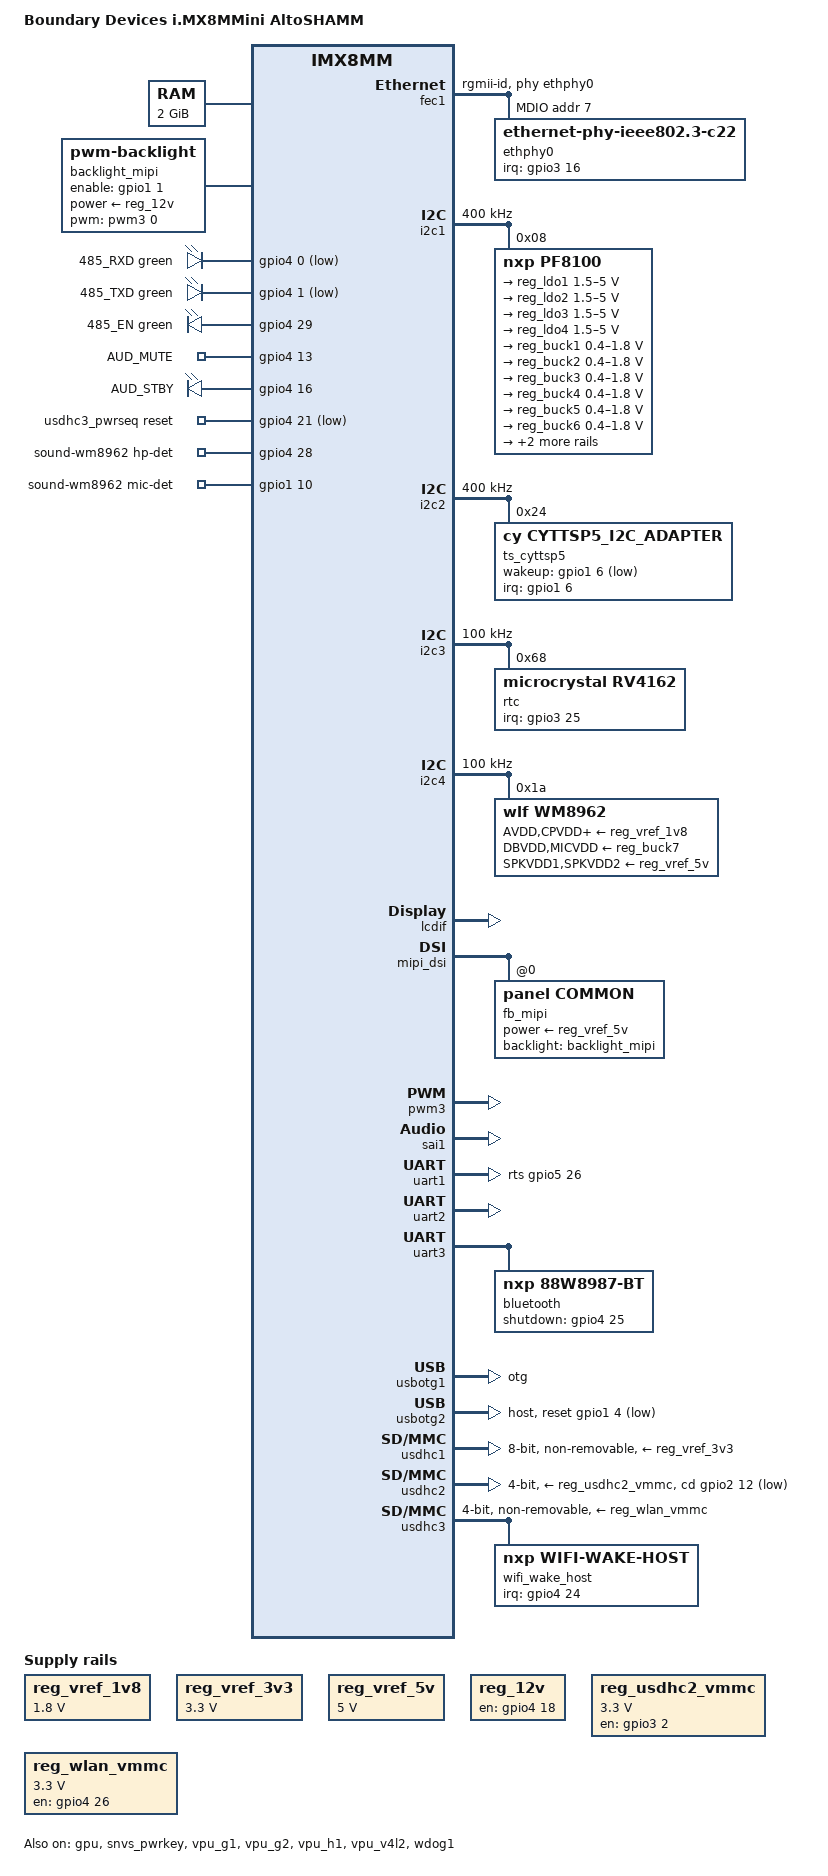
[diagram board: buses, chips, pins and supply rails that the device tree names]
// SPDX-License-Identifier: (GPL-2.0+ OR MIT)
/*
 * Copyright 2024 Ezurio
 */

/dts-v1/;

#include <dt-bindings/leds/common.h>
#include <dt-bindings/phy/phy-imx8-pcie.h>
#include <dt-bindings/usb/pd.h>
#include "imx8mm.dtsi"

#include "../panel-m101nwwb.dtsi"

/ {
	model = "Boundary Devices i.MX8MMini AltoSHAMM";
	compatible = "ezurio,imx8mm-ash", "fsl,imx8mm";

	aliases {
		a53 = &A53_0;
		backlight_mipi = &backlight_mipi;
		fb_mipi = &fb_mipi;
		lcdif = &lcdif;
		mipi = &fb_mipi;
		mipi_dsi = &mipi_dsi;
		mipi_to_lvds = &mipi_to_lvds;
		pwm_mipi = &pwm3;
		t_mipi = &t_mipi;
		ts_cyttsp5 = &ts_cyttsp5;
	};

	chosen {
		stdout-path = &uart2;
	};

	memory@40000000 {
		device_type = "memory";
		reg = <0x0 0x40000000 0 0x80000000>;
	};

	backlight_mipi: backlight-mipi {
		compatible = "pwm-backlight";
		pinctrl-names = "default";
		pinctrl-0 = <&pinctrl_backlight>;
		power-supply = <&reg_12v>;
		pwms = <&pwm3 0 30000 0>; /* 33.3 Khz */
		enable-gpios = <&gpio1 1 GPIO_ACTIVE_HIGH>;
		brightness-levels = <0 10>;
		display = <&display_subsystem>;
		num-interpolated-steps = <10>;
		default-brightness-level = <8>;
		status = "okay"; /* TODO */
	};

	led-controller {
		compatible = "gpio-leds";
		pinctrl-names = "default";
		pinctrl-0 = <&pinctrl_rs485_leds>;

		485-rxd {
			label = "485_RXD";
			function = LED_FUNCTION_STATUS;
			color = <LED_COLOR_ID_GREEN>;
			gpios = <&gpio4 0 GPIO_ACTIVE_LOW>;
			default-state = "off";
			//linux,default-trigger = "";
		};

		485-txd {
			label = "485_TXD";
			function = LED_FUNCTION_STATUS;
			color = <LED_COLOR_ID_GREEN>;
			gpios = <&gpio4 1 GPIO_ACTIVE_LOW>;
			default-state = "off";
			//linux,default-trigger = "";
		};

		/* Temporary placeholder for HW test */
		485-en {
			label = "485_EN";
			function = LED_FUNCTION_STATUS;
			color = <LED_COLOR_ID_GREEN>;
			gpios = <&gpio4 29 GPIO_ACTIVE_HIGH>;
			default-state = "off";
			//linux,default-trigger = "";
		};

		/* Temporary to enable audio amplifer */
		aud-mute {
			label = "AUD_MUTE";
			gpios = <&gpio4 13 GPIO_ACTIVE_HIGH>;
			default-state = "on";
		};

		aud-stby {
			label = "AUD_STBY";
			gpios = <&gpio4 16 GPIO_ACTIVE_HIGH>;
			default-state = "on";
		};
	};

	reg_vref_1v8: regulator-vref-1v8 {
		compatible = "regulator-fixed";
		regulator-name = "vref-1v8";
		regulator-min-microvolt = <1800000>;
		regulator-max-microvolt = <1800000>;
	};

	reg_vref_3v3: regulator-vref-3v3 {
		compatible = "regulator-fixed";
		regulator-name = "vref-3v3";
		regulator-min-microvolt = <3300000>;
		regulator-max-microvolt = <3300000>;
	};

	reg_vref_5v: regulator-vref-5v {
		compatible = "regulator-fixed";
		regulator-name = "vref-5v";
		regulator-min-microvolt = <5000000>;
		regulator-max-microvolt = <5000000>;
	};

	reg_12v: regulator-12v {
		compatible = "regulator-fixed";
		regulator-name = "vcc_12v";
		pinctrl-names = "default";
		pinctrl-0 = <&pinctrl_reg_12v>;
		gpio = <&gpio4 18 GPIO_ACTIVE_HIGH>; /* BKLITON / VCC_12V */
		enable-active-high;
	};

	reg_usdhc2_vmmc: regulator-usdhc2 {
		compatible = "regulator-fixed";
		pinctrl-names = "default";
		pinctrl-0 = <&pinctrl_reg_usdhc2_vmmc>;
		regulator-name = "VSD_3V3";
		regulator-min-microvolt = <3300000>;
		regulator-max-microvolt = <3300000>;
		gpio = <&gpio3 2 GPIO_ACTIVE_HIGH>; /*  LDO2_VSEL */
		off-on-delay-us = <20000>;
		enable-active-high;
	};

	reg_wlan_vmmc: regulator-wlan-vmmc {
		compatible = "regulator-fixed";
		pinctrl-names = "default";
		pinctrl-0 = <&pinctrl_reg_wlan_vmmc>;
		regulator-name = "reg_wlan_vmmc";
		regulator-min-microvolt = <3300000>;
		regulator-max-microvolt = <3300000>;
		gpio = <&gpio4 26 GPIO_ACTIVE_HIGH>; /* WL_EN */
		startup-delay-us = <70000>;
		enable-active-high;
	};

	usdhc3_pwrseq: usdhc3_pwrseq {
		compatible = "mmc-pwrseq-simple";
		pinctrl-names = "default";
		pinctrl-0 = <&pinctrl_usdhc3_gpio>;
		reset-gpios = <&gpio4 21 GPIO_ACTIVE_LOW>; /* WIFI_RESET */
	};

	sound-wm8962 {
		compatible = "fsl,imx-audio-wm8962";
		pinctrl-names = "default";
		pinctrl-0 = <&pinctrl_sound_wm8962>;
		model = "wm8962-audio";
		audio-cpu = <&sai1>;
		audio-codec = <&wm8962>;
		audio-routing =
			"Headphone Jack", "HPOUTL",
			"Headphone Jack", "HPOUTR",
			"Ext Spk", "SPKOUTL",
			"Ext Spk", "SPKOUTR",
			"AMIC", "MICBIAS",
			"IN1R", "AMIC",
			"IN2R", "AMIC",
			"IN3L", "AMIC",
			"IN3R", "AMIC";
		codec-master;
		hp-det-gpio = <&gpio4 28 GPIO_ACTIVE_HIGH>;
		mic-det-gpio = <&gpio1 10 GPIO_ACTIVE_HIGH>;
		status = "okay";
	};
};

&A53_0 {
	cpu-supply = <&reg_buck3>;
};

&A53_1 {
	cpu-supply = <&reg_buck3>;
};

&A53_2 {
	cpu-supply = <&reg_buck3>;
};

&A53_3 {
	cpu-supply = <&reg_buck3>;
};

&fec1 {
	pinctrl-names = "default";
	pinctrl-0 = <&pinctrl_fec1>;
	phy-mode = "rgmii-id";
	phy-handle = <&ethphy0>;
	fsl,magic-packet;
#if 0
	reset-gpios = <&gpio3 15 GPIO_ACTIVE_LOW>;
#endif
	phy-reset-post-delay = <150>;
	phy-reset-duration = <10>;
	status = "okay";

	mdio {
		#address-cells = <1>;
		#size-cells = <0>;

		ethphy0: ethernet-phy@7 {
			compatible = "ethernet-phy-ieee802.3-c22";
			reg = <7>;
			interrupts-extended = <&gpio3 16 IRQ_TYPE_LEVEL_LOW>;
			rxc-skew-ps = <1860>;
			txc-skew-ps = <1860>;
		};
	};
};

&gpio1 {
	gpio-line-names = "0", "BL_EN", "2", "3", "USB_HUB_RESET", "5", "6", "7", "8",
		"9", "MIC_DET", "11", "12", "13", "14", "15", "16",
		"17", "18", "19", "20", "21", "22", "23", "24",
		"25", "26", "27", "28", "29", "30", "31";
};

&gpio2 {
	gpio-line-names = "0", "1", "2", "3", "4", "5", "6", "7", "8",
		"9", "10", "11", "SD2_CD", "13", "14", "15", "16",
		"17", "18", "19", "20", "21", "22", "23", "24",
		"25", "26", "27", "28", "29", "30", "31";
};

&gpio3 {
	gpio-line-names = "0", "1", "LDO2_VSEL", "3", "4", "5", "6", "7", "8",
			"9", "10", "11", "12", "13", "14", "FEC_RST", "FEC_INT",
			"17", "18", "19", "20", "UD_SW1", "UD_SW2", "UD_SW3", "UD_SW4",
			"RTC_INT", "26", "27", "28", "29", "30", "31";
};

&gpio4 {
	gpio-line-names = "485_RXD", "485_TXD", "2", "3", "4", "5", "6", "7", "8",
		"9", "10", "11", "12", "AMP_MUTE", "AMP_G1", "AMP_G0", "AMP_STDBY",
		"17", "BKLITON", "19", "20", "WIFI_RESET", "22", "23", "WL_IRQ",
		"BT_EN", "WL_EN", "27", "HP_DET_tp13", "485_EN", "30", "UD_SW6";
};

&gpio5 {
	gpio-line-names = "UD_SW7", "UD_SW8", "UD_SW5", "3", "4", "5", "6", "7", "8",
			"9", "10", "11", "12", "13", "14", "15", "16",
			"17", "18", "19", "20", "21", "22", "23", "24",
			"25", "RS485_RTS", "27", "28", "29", "30", "31";
};

&gpu {
	status = "okay";
};

&i2c1 { /* PMIC and SN65 */
	clock-frequency = <400000>;
	pinctrl-names = "default";
	pinctrl-0 = <&pinctrl_i2c1>;
	status = "okay";

	pf8100@8 {
		compatible = "nxp,pf8100";
		pinctrl-names = "default";
		pinctrl-0 = <&pinctrl_i2c1_pf8100>;
		reg = <0x08>;

		regulators {
			reg_ldo1: ldo1 { /* LDO1_3P3V */
				regulator-always-on;
				regulator-boot-on;
				regulator-max-microvolt = <5000000>;
				regulator-min-microvolt = <1500000>;
			};

			reg_ldo2: ldo2 { /* NVCC_SD2 */
				regulator-always-on;
				regulator-boot-on;
				regulator-max-microvolt = <5000000>;
				regulator-min-microvolt = <1500000>;
				/* vselect low is 3.3V, high is 1.8V */
				vselect-en;
			};

			reg_ldo3: ldo3 { /* LDO3_1P8V_TO_3P3V */
				regulator-always-on;
				regulator-boot-on;
				regulator-max-microvolt = <5000000>;
				regulator-min-microvolt = <1500000>;
			};

			reg_ldo4: ldo4 { /* VDDA_1V8 */
				regulator-always-on;
				regulator-boot-on;
				regulator-max-microvolt = <5000000>;
				regulator-min-microvolt = <1500000>;
			};

			reg_buck1: buck1 { /* VDD_SOC_VDDA_0P8_PHY_0P8 */
				nxp,phase-shift = <0>;
				regulator-max-microamp = <4500000>;
				regulator-always-on;
				regulator-boot-on;
				regulator-max-microvolt = <1800000>;
				regulator-min-microvolt =  <400000>;
			};

			reg_buck2: buck2 { /* VDD_DRAM */
				regulator-always-on;
				regulator-boot-on;
				regulator-max-microvolt = <1800000>;
				regulator-min-microvolt =  <400000>;
			};

			reg_buck3: buck3 { /* VDD_ARM */
				regulator-always-on;
				regulator-boot-on;
				regulator-max-microvolt = <1800000>;
				regulator-min-microvolt =  <400000>;
				fast-slew = <1>;
			};

			reg_buck4: buck4{ /* VDD_GPU */
				regulator-always-on;
				regulator-boot-on;
				regulator-max-microvolt = <1800000>;
				regulator-min-microvolt =  <400000>;
				fast-slew = <1>;
			};

			reg_buck5: buck5 { /* VDD_VPU */
				regulator-boot-on;
				regulator-max-microvolt = <1800000>;
				regulator-min-microvolt =  <400000>;
			};

			reg_buck6: buck6 { /* NVCC_DRAM_1P1V */
				regulator-always-on;
				regulator-boot-on;
				regulator-max-microvolt = <1800000>;
				regulator-min-microvolt =  <400000>;
			};

			reg_buck7: buck7 { /* 3P3V */
				regulator-always-on;
				regulator-boot-on;
				regulator-max-microvolt = <4100000>;
				regulator-min-microvolt = <1000000>;
			};

			reg_vsnvs: vsnvs {
				regulator-always-on;
				regulator-boot-on;
				regulator-max-microvolt = <3300000>;
				regulator-min-microvolt = <1800000>;
			};
		};
	}; /* End pf8100 */
};

&i2c2 { /* Touch */
	clock-frequency = <400000>;
	pinctrl-names = "default";
	pinctrl-0 = <&pinctrl_i2c2>;
	status = "okay";

	ts_cyttsp5: touchscreen@24 {
		compatible = "cy,cyttsp5_i2c_adapter";
		cy,adapter_id = "cyttsp5_i2c_adapter";
		touchscreen-inverted-x;
		touchscreen-inverted-y;
		interrupts-extended = <&gpio1 6 IRQ_TYPE_EDGE_FALLING>;
		pinctrl-names = "default";
		pinctrl-0 = <&pinctrl_ts_cyttsp5>;
		reg = <0x24>;
		status = "okay";
		wakeup-gpios = <&gpio1 6 GPIO_ACTIVE_LOW>;

		cy,core {
			cy,name = "cyttsp5_core";
			cy,hid_desc_register = <1>;
			/* CY_CORE_FLAG_RESTORE_PARAMETERS */
			cy,flags = <4>;
			/* CY_CORE_EWG_NONE */
			cy,easy_wakeup_gesture = <0>;
			cy,btn_keys = <172 /* KEY_HOMEPAGE */
				/* previously was KEY_HOME, new Android versions use KEY_HOMEPAGE */
				139 /* KEY_MENU */
				158 /* KEY_BACK */
				217 /* KEY_SEARCH */
				114 /* KEY_VOLUMEDOWN */
				115 /* KEY_VOLUMEUP */
				212 /* KEY_CAMERA */
				116>; /* KEY_POWER */
			cy,btn_keys-tag = <0>;

			cy,mt {
				cy,name = "cyttsp5_mt";

				cy,inp_dev_name = "cyttsp5_mt";
				cy,flags = <0x30>; /* CY_MT_FLAG_INV_X | CY_MT_FLAG_INV_Y */
				cy,abs =
					/* ABS_MT_POSITION_X, CY_ABS_MIN_X, CY_ABS_MAX_X, 0, 0 */
					<0x35 0 880 0 0
					/* ABS_MT_POSITION_Y, CY_ABS_MIN_Y, CY_ABS_MAX_Y, 0, 0 */
					0x36 0 1280 0 0
					/* ABS_MT_PRESSURE, CY_ABS_MIN_P, CY_ABS_MAX_P, 0, 0 */
					0x3a 0 255 0 0
					/* CY_IGNORE_VALUE, CY_ABS_MIN_W, CY_ABS_MAX_W, 0, 0 */
					0xffff 0 255 0 0
					/* ABS_MT_TRACKING_ID, CY_ABS_MIN_T, CY_ABS_MAX_T, 0, 0 */
					0x39 0 15 0 0
					/* ABS_MT_TOUCH_MAJOR, 0, 255, 0, 0 */
					0x30 0 255 0 0
					/* ABS_MT_TOUCH_MINOR, 0, 255, 0, 0 */
					0x31 0 255 0 0
					/* ABS_MT_ORIENTATION, -127, 127, 0, 0 */
					0x34 0xffffff81 127 0 0
					/* ABS_MT_TOOL_TYPE, 0, MT_TOOL_MAX, 0, 0 */
					0x37 0 1 0 0
					/* ABS_DISTANCE, 0, 255, 0, 0 */
					0x19 0 255 0 0>;

				cy,vkeys_x = <720>;
				cy,vkeys_y = <1280>;

				cy,virtual_keys = /* KeyCode CenterX CenterY Width Height */
					/* KEY_BACK */
					<158 1360 90 160 180
					/* KEY_MENU */
					139 1360 270 160 180
					/* KEY_HOMEPAGE */
					172 1360 450 160 180
					/* KEY SEARCH */
					217 1360 630 160 180>;
			};

			cy,btn {
				cy,name = "cyttsp5_btn";

				cy,inp_dev_name = "cyttsp5_btn";
			};

			cy,proximity {
				cy,name = "cyttsp5_proximity";

				cy,inp_dev_name = "cyttsp5_proximity";
				cy,abs =
					/* ABS_DISTANCE, CY_PROXIMITY_MIN_VAL, CY_PROXIMITY_MAX_VAL, 0, 0 */
					<0x19 0 1 0 0>;
			};
		};
	};
};

&i2c3 { /* RTC */
	clock-frequency = <100000>;
	pinctrl-names = "default";
	pinctrl-0 = <&pinctrl_i2c3>;
	status = "okay";

	rtc@68 {
		compatible = "microcrystal,rv4162";
		pinctrl-names = "default";
		pinctrl-0 = <&pinctrl_i2c3_rv4162>;
		reg = <0x68>;
		interrupts-extended = <&gpio3 25 IRQ_TYPE_LEVEL_LOW>;
		wakeup-source;
	};
};

&i2c4 { /* Audio */
	clock-frequency = <100000>;
	pinctrl-names = "default";
	pinctrl-0 = <&pinctrl_i2c4>;
	status = "okay";

	wm8962: codec@1a {
		compatible = "wlf,wm8962";
		reg = <0x1a>;
		clocks = <&clk IMX8MM_CLK_SAI1_ROOT>;
		clock-names = "mclk";
		AVDD-supply = <&reg_vref_1v8>;
                CPVDD-supply = <&reg_vref_1v8>;
                DBVDD-supply = <&reg_buck7>;
                DCVDD-supply = <&reg_vref_1v8>;
                MICVDD-supply = <&reg_buck7>;
                PLLVDD-supply = <&reg_vref_1v8>;
                SPKVDD1-supply = <&reg_vref_5v>;
                SPKVDD2-supply = <&reg_vref_5v>;
		wlf,shared-lrclk;
	};
};

&lcdif {
	status = "okay";
};

&mipi_dsi {

	assigned-clocks = <&clk IMX8MM_CLK_DSI_CORE>,
			  <&clk IMX8MM_CLK_DSI_PHY_REF>,
			  <&clk IMX8MM_VIDEO_PLL1_REF_SEL>,
			  <&clk IMX8MM_CLK_LCDIF_PIXEL>;
	assigned-clock-parents = <&clk IMX8MM_SYS_PLL1_266M>,
				 <&clk IMX8MM_VIDEO_PLL1_OUT>,
				 <&clk IMX8MM_CLK_24M>;
	assigned-clock-rates = <266000000>, <0>, <0>, <66000000>;

	status = "okay"; /* TODO */

	fb_mipi: panel@0 {
		backlight = <&backlight_mipi>;
		bits-per-color = <8>;
		bridge-de-active = <0>;
		bus-format = "rgb888";
		clocks = <&mipi_dsi 0>,
			<&clk IMX8MM_CLK_LCDIF_PIXEL>;
		clock-names = "mipi_clk", "pixel_clock";
		compatible = "panel,common";
		dsi-format = "rgb888";
		dsi-lanes = <4>;
		mode-skip-eot;
		mode-video;
		mode-video-burst;
		panel-height-mm = <136>;
		panel-width-mm = <217>;
		pinctrl-names = "sn65dsi83";
		pinctrl-0 = <&pinctrl_sn65>;
		power-supply = <&reg_vref_5v>;
		reg = <0>;
		sn65dsi83 = <&mipi_to_lvds>;
		spwg;

		display-timings {
			t_mipi: t-dsi-default {
				/* m101nwwb by default */
				clock-frequency = <66000000>;
				hactive = <1280>;
				vactive = <800>;
				hback-porch = <5>;
				hfront-porch = <123>;
				vback-porch = <3>;
				vfront-porch = <24>;
				hsync-len = <1>;
				vsync-len = <1>;
				hsync-active = <0>;
				vsync-active = <0>;
				de-active = <1>;
			};
		};
		mipi_to_lvds: mipi-to-lvds {
			alias = <&mipi_to_lvds>;
			enable-gpios = <&gpio3 6 GPIO_ACTIVE_HIGH>;
			i2c-address = <0x2c>;
			i2c-bus = <&i2c1>;
			interrupts-extended = <&gpio3 8 IRQ_TYPE_LEVEL_HIGH>;
			status = "disabled";
	      };
	};
};

&pwm3 {
	pinctrl-names = "default";
	pinctrl-0 = <&pinctrl_pwm3>;
	status = "okay";
};

&sai1 {
	pinctrl-names = "default";
	pinctrl-0 = <&pinctrl_sai1>;
	fsl,sai-mclk-direction-output;
	status = "okay";
};

&snvs_pwrkey {
	status = "okay";
};

&uart1 { /* RS485 */
	pinctrl-names = "default";
	pinctrl-0 = <&pinctrl_uart1>;
	assigned-clocks = <&clk IMX8MM_CLK_UART1>;
	assigned-clock-parents = <&clk IMX8MM_SYS_PLL1_80M>;
	rts-gpios = <&gpio5 26 GPIO_ACTIVE_HIGH>;
        linux,rs485-enabled-at-boot-time;
	status = "okay";
};

&uart2 { /* console */
	pinctrl-names = "default";
	pinctrl-0 = <&pinctrl_uart2>;
	assigned-clocks = <&clk IMX8MM_CLK_UART2>;
	assigned-clock-parents = <&clk IMX8MM_CLK_24M>;
	status = "okay";
};

&uart3 { /* BT */
	pinctrl-names = "default";
	pinctrl-0 = <&pinctrl_uart3>;
	assigned-clocks = <&clk IMX8MM_CLK_UART3>;
	assigned-clock-parents = <&clk IMX8MM_SYS_PLL1_80M>;
	fsl,uart-has-rtscts;
	status = "okay";

	bluetooth {
		compatible = "nxp,88w8987-bt";
		fw-init-baudrate = <3000000>;
		shutdown-gpios = <&gpio4 25 GPIO_ACTIVE_HIGH>;
	};
};

&usbotg1 { /* Micro USB */
	dr_mode = "otg";
	over-current-active-low;
	pinctrl-names = "default";
	pinctrl-0 = <&pinctrl_usbotg1>;
	power-active-high;
	status = "okay";
};

&usbotg2 { /* HUB (2 X USB 2.0 ports) */
	disable-over-current;
	dr_mode = "host";
	pinctrl-names = "default";
	pinctrl-0 = <&pinctrl_usbotg2>;
	power-active-high;
	reset-gpios = <&gpio1 4 GPIO_ACTIVE_LOW>; /* USB_HUB_RESET */
	status = "okay";
};

&usdhc1 { /* eMMC */
	bus-width = <8>;
	no-mmc-hs400;
	non-removable;
	pinctrl-names = "default", "state_100mhz", "state_200mhz";
	pinctrl-0 = <&pinctrl_usdhc1>;
	pinctrl-1 = <&pinctrl_usdhc1_100mhz>;
	pinctrl-2 = <&pinctrl_usdhc1_200mhz>;
	status = "okay";
	vmmc-supply = <&reg_vref_3v3>;
	vqmmc-1-8-v;
	vqmmc-supply = <&reg_vref_1v8>;
};

&usdhc2 { /* SDCARD */
	pinctrl-names = "default", "state_100mhz", "state_200mhz";
	pinctrl-0 = <&pinctrl_usdhc2>, <&pinctrl_usdhc2_gpio>;
	pinctrl-1 = <&pinctrl_usdhc2_100mhz>, <&pinctrl_usdhc2_gpio>;
	pinctrl-2 = <&pinctrl_usdhc2_200mhz>, <&pinctrl_usdhc2_gpio>;
	cd-gpios = <&gpio2 12 GPIO_ACTIVE_LOW>;
	bus-width = <4>;
	vmmc-supply = <&reg_usdhc2_vmmc>;
	status = "okay";
};

&usdhc3 { /* WiFi / Bluetooth */
	bus-width = <4>;
	no-sd-uhs-sdr104;
	pm-ignore-notify;
	keep-power-in-suspend;
	non-removable;
	wakeup-source;
	mmc-pwrseq = <&usdhc3_pwrseq>; /* Controls WIFI_RESET */
	fsl,sdio-async-interrupt-enabled;
	pinctrl-names = "default", "state_100mhz", "state_200mhz";
	pinctrl-0 = <&pinctrl_usdhc3>, <&pinctrl_wlan>;
	pinctrl-1 = <&pinctrl_usdhc3_100mhz>, <&pinctrl_wlan>;
	pinctrl-2 = <&pinctrl_usdhc3_200mhz>, <&pinctrl_wlan>;
	status = "okay";
	vmmc-supply = <&reg_wlan_vmmc>; /* Controls WL_EN */
	vqmmc-1-8-v;

	wifi_wake_host {
                compatible = "nxp,wifi-wake-host";
                interrupt-parent = <&gpio4>;
                interrupts = <24 IRQ_TYPE_LEVEL_LOW>; /* WL_IRQ */
                interrupt-names = "host-wake";
        };

};

&vpu_g1 {
	status = "okay";
};

&vpu_g2 {
	status = "okay";
};

&vpu_h1 {
	status = "okay";
};

&vpu_v4l2 {
	status = "okay";
};

&pgc_vpumix {
        dvfs-supply = <&reg_buck5>;
        idle-microvolt = <850000 805000 900000>;
};

&wdog1 {
	pinctrl-names = "default";
	pinctrl-0 = <&pinctrl_wdog>;
	fsl,ext-reset-output;
	status = "okay";
};

&iomuxc {
	pinctrl-names = "default";
	pinctrl-0 = <&pinctrl_hog>;

	pinctrl_backlight: backlightgrp {
		fsl,pins = <
			MX8MM_IOMUXC_GPIO1_IO01_GPIO1_IO1		0x159
		>;
	};

	pinctrl_fec1: fec1grp {
		fsl,pins = <
			MX8MM_IOMUXC_ENET_MDC_ENET1_MDC			0x0
			MX8MM_IOMUXC_ENET_MDIO_ENET1_MDIO		0x0
			MX8MM_IOMUXC_ENET_TD3_ENET1_RGMII_TD3		0x1f
			MX8MM_IOMUXC_ENET_TD2_ENET1_RGMII_TD2		0x1f
			MX8MM_IOMUXC_ENET_TD1_ENET1_RGMII_TD1		0x1f
			MX8MM_IOMUXC_ENET_TD0_ENET1_RGMII_TD0		0x1f
			MX8MM_IOMUXC_ENET_RD3_ENET1_RGMII_RD3		0x91
			MX8MM_IOMUXC_ENET_RD2_ENET1_RGMII_RD2		0x91
			MX8MM_IOMUXC_ENET_RD1_ENET1_RGMII_RD1		0x91
			MX8MM_IOMUXC_ENET_RD0_ENET1_RGMII_RD0		0x91
			MX8MM_IOMUXC_ENET_TXC_ENET1_RGMII_TXC		0x1f
			MX8MM_IOMUXC_ENET_RXC_ENET1_RGMII_RXC		0x91
			MX8MM_IOMUXC_ENET_RX_CTL_ENET1_RGMII_RX_CTL	0x91
			MX8MM_IOMUXC_ENET_TX_CTL_ENET1_RGMII_TX_CTL	0x1f
			MX8MM_IOMUXC_NAND_RE_B_GPIO3_IO15		0x159 /* RST */
			MX8MM_IOMUXC_NAND_READY_B_GPIO3_IO16		0x159 /* IRQ */
		>;
	};

	pinctrl_gpio_sw: hoggrp {
		fsl,pins = <
			MX8MM_IOMUXC_SAI5_RXD0_GPIO3_IO21		0x100 /* UD_SW1 */
			MX8MM_IOMUXC_SAI5_RXD1_GPIO3_IO22		0x100 /* UD_SW2 */
			MX8MM_IOMUXC_SAI5_RXD2_GPIO3_IO23		0x100 /* UD_SW3 */
			MX8MM_IOMUXC_SAI5_RXD3_GPIO3_IO24		0x100 /* UD_SW4 */
			MX8MM_IOMUXC_SAI3_MCLK_GPIO5_IO2		0x100 /* UD_SW5 */
			MX8MM_IOMUXC_SAI3_TXFS_GPIO4_IO31		0x100 /* UD_SW6 */
			MX8MM_IOMUXC_SAI3_TXC_GPIO5_IO0			0x100 /* UD_SW7 */
			MX8MM_IOMUXC_SAI3_TXD_GPIO5_IO1			0x100 /* UD_SW8 */
		>;
	};

	pinctrl_hog: hoggrp {
		fsl,pins = <
			MX8MM_IOMUXC_SAI1_TXD1_GPIO4_IO13		0x100 /* GP_WM8960_AMP_MUTE      <&gpio4 13 GPIO_ACTIVE_LOW>     Low is muted */
			MX8MM_IOMUXC_SAI1_TXD2_GPIO4_IO14		0x100 /* GP_WM8960_AMP_G1        <&gpio4 14 GPIO_ACTIVE_HIGH> */
			MX8MM_IOMUXC_SAI1_TXD3_GPIO4_IO15		0x100 /* GP_WM8960_AMP_G0        <&gpio4 15 GPIO_ACTIVE_HIGH> */
			MX8MM_IOMUXC_SAI1_TXD4_GPIO4_IO16		0x100 /* GP_WM8960_AMP_STDBY     <&gpio4 16 GPIO_ACTIVE_LOW>    Low is standby */
			MX8MM_IOMUXC_SAI3_RXC_GPIO4_IO29		0x100 /* 485_EN */
		>;
	};

	pinctrl_i2c1: i2c1grp {
		fsl,pins = <
			MX8MM_IOMUXC_I2C1_SCL_I2C1_SCL			0x400001c5
			MX8MM_IOMUXC_I2C1_SDA_I2C1_SDA			0x400001c5
		>;
	};

	pinctrl_i2c1_pf8100: i2c1pf8100grp {
		fsl,pins = <
			MX8MM_IOMUXC_NAND_CE2_B_GPIO3_IO3		0x149
			MX8MM_IOMUXC_NAND_CE3_B_GPIO3_IO4		0x149
		>;
	};

	pinctrl_i2c2: i2c2grp {
		fsl,pins = <
			MX8MM_IOMUXC_I2C2_SCL_I2C2_SCL			0x400001c3
			MX8MM_IOMUXC_I2C2_SDA_I2C2_SDA			0x400001c3
		>;
	};

	pinctrl_i2c2_synaptics_dsx_io: synaptics_dsx_iogrp {
		fsl,pins = <
			MX8MM_IOMUXC_GPIO1_IO09_GPIO1_IO9			0x19    /* Touch int */
		>;
	};

	pinctrl_i2c3: i2c3grp {
		fsl,pins = <
			MX8MM_IOMUXC_I2C3_SCL_I2C3_SCL			0x400001c3
			MX8MM_IOMUXC_I2C3_SDA_I2C3_SDA			0x400001c3
		>;
	};

	pinctrl_i2c3_rv4162: i2c3rv4162grp {
		fsl,pins = <
			MX8MM_IOMUXC_SAI5_MCLK_GPIO3_IO25		0x1c0
		>;
	};

	pinctrl_i2c4: i2c4grp {
		fsl,pins = <
			MX8MM_IOMUXC_I2C4_SCL_I2C4_SCL			0x400001c3
			MX8MM_IOMUXC_I2C4_SDA_I2C4_SDA			0x400001c3
		>;
	};

	pinctrl_mipi_dsi_en: mipi_dsi_en {
		fsl,pins = <
			MX8MM_IOMUXC_GPIO1_IO08_GPIO1_IO8		0x16
		>;
	};

	pinctrl_pdm: pdmgrp {
		fsl,pins = <
			MX8MM_IOMUXC_SAI5_MCLK_SAI5_MCLK	0xd6
			MX8MM_IOMUXC_SAI5_RXC_PDM_CLK		0xd6
			MX8MM_IOMUXC_SAI5_RXFS_SAI5_RX_SYNC	0xd6
			MX8MM_IOMUXC_SAI5_RXD0_PDM_DATA0	0xd6
			MX8MM_IOMUXC_SAI5_RXD1_PDM_DATA1	0xd6
			MX8MM_IOMUXC_SAI5_RXD2_PDM_DATA2	0xd6
			MX8MM_IOMUXC_SAI5_RXD3_PDM_DATA3	0xd6
		>;
	};

	pinctrl_pmic: pmicirqgrp {
		fsl,pins = <
			MX8MM_IOMUXC_GPIO1_IO03_GPIO1_IO3		0x141
		>;
	};

	pinctrl_pwm3: pwm3grp {
		fsl,pins = <
			MX8MM_IOMUXC_SPDIF_TX_PWM3_OUT			0x100
		>;
	};

	pinctrl_reg_12v: reg12vgrp {
		fsl,pins = <
			MX8MM_IOMUXC_SAI1_TXD6_GPIO4_IO18		0x100 /* BKLITON */
		>;
	};

	pinctrl_reg_usdhc2_vmmc: regusdhc2vmmcgrp {
		fsl,pins = <
			MX8MM_IOMUXC_NAND_CE1_B_GPIO3_IO2	0x41 /* LDO2_VSEL */
		>;
	};

	pinctrl_reg_wlan_vmmc: reg-wlan-vmmcgrp {
		fsl,pins = <
			MX8MM_IOMUXC_SAI2_TXD0_GPIO4_IO26	0x16
		>;
	};

	pinctrl_rs485_leds: rs485-leds-grp {
		fsl,pins = <
			MX8MM_IOMUXC_SAI1_RXFS_GPIO4_IO0	0x16 /* 485_RXD */
			MX8MM_IOMUXC_SAI1_RXC_GPIO4_IO1		0x16 /* 485_TXD */
		>;
	};

	pinctrl_sai1: sai1grp {
		/* wm8962 */
		fsl,pins = <
			MX8MM_IOMUXC_SAI1_MCLK_SAI1_MCLK	0xd6
			MX8MM_IOMUXC_SAI1_TXFS_SAI1_TX_SYNC	0xd6
			MX8MM_IOMUXC_SAI1_TXC_SAI1_TX_BCLK	0xd6
			MX8MM_IOMUXC_SAI1_TXD0_SAI1_TX_DATA0	0xd6
			MX8MM_IOMUXC_SAI1_RXD0_SAI1_RX_DATA0	0xd6
		>;
	};

	pinctrl_sn65: sn65-gpiogrp {
		fsl,pins = <
			MX8MM_IOMUXC_NAND_DATA02_GPIO3_IO8	0x159 /* DSI_LVDS_IRQ */
			MX8MM_IOMUXC_NAND_DATA00_GPIO3_IO6	0x100 /* DSI_LVDS_EN */
		>;
	};

	pinctrl_sound_wm8962: soundgrp {
		fsl,pins = <
			MX8MM_IOMUXC_GPIO1_IO10_GPIO1_IO10		0x1c0	/* MIC_DET */
			MX8MM_IOMUXC_SAI3_RXFS_GPIO4_IO28		0x1c0	/* HP_DET */
		>;
	};

	pinctrl_ts_cyttsp5: ts-cyttsp5grp {
		fsl,pins = <
			MX8MM_IOMUXC_GPIO1_IO06_GPIO1_IO6		0x1c0
			MX8MM_IOMUXC_GPIO1_IO09_GPIO1_IO9		0x140
		>;
	};

	pinctrl_uart1: uart1grp {
		fsl,pins = <
			MX8MM_IOMUXC_UART1_RXD_UART1_DCE_RX	0x140
			MX8MM_IOMUXC_UART1_TXD_UART1_DCE_TX	0x140
			MX8MM_IOMUXC_UART3_RXD_GPIO5_IO26	0x100
			/* MX8MM_IOMUXC_UART3_RXD_UART1_DTE_RTS_B	0x140 */
			/* MX8MM_IOMUXC_UART3_RXD_UART1_DCE_CTS_B	0x140 */
		>;
	};

	pinctrl_uart2: uart2grp {
		fsl,pins = <
			MX8MM_IOMUXC_UART2_RXD_UART2_DCE_RX	0x140
			MX8MM_IOMUXC_UART2_TXD_UART2_DCE_TX	0x140
		>;
	};

	pinctrl_uart3: uart3grp {
		fsl,pins = <
			MX8MM_IOMUXC_ECSPI1_SCLK_UART3_DCE_RX		0x140
			MX8MM_IOMUXC_ECSPI1_MOSI_UART3_DCE_TX		0x140
			MX8MM_IOMUXC_ECSPI1_SS0_UART3_DCE_RTS_B		0x140
			MX8MM_IOMUXC_ECSPI1_MISO_UART3_DCE_CTS_B	0x140
			MX8MM_IOMUXC_SAI2_TXC_GPIO4_IO25		0x100 /* BT_EN */
		>;
	};

	pinctrl_usbotg1: usbotg1grp {
		fsl,pins = <
			MX8MM_IOMUXC_GPIO1_IO12_USB1_OTG_PWR	0x16
			MX8MM_IOMUXC_GPIO1_IO13_USB1_OTG_OC	0x156
		>;
	};

	pinctrl_usbotg2: usbotg2grp {
		fsl,pins = <
			MX8MM_IOMUXC_GPIO1_IO04_GPIO1_IO4	0x140 /* USB_HUB_RESET */
		>;
	};

	pinctrl_usdhc1_gpio: usdhc1grpgpio {
		fsl,pins = <
			MX8MM_IOMUXC_SD1_RESET_B_GPIO2_IO10	0x41
		>;
	};

	pinctrl_usdhc1: usdhc1grp {
		fsl,pins = <
			MX8MM_IOMUXC_SD1_CLK_USDHC1_CLK		0x190
			MX8MM_IOMUXC_SD1_CMD_USDHC1_CMD		0x1d0
			MX8MM_IOMUXC_SD1_DATA0_USDHC1_DATA0	0x1d0
			MX8MM_IOMUXC_SD1_DATA1_USDHC1_DATA1	0x1d0
			MX8MM_IOMUXC_SD1_DATA2_USDHC1_DATA2	0x1d0
			MX8MM_IOMUXC_SD1_DATA3_USDHC1_DATA3	0x1d0
			MX8MM_IOMUXC_SD1_DATA4_USDHC1_DATA4	0x1d0
			MX8MM_IOMUXC_SD1_DATA5_USDHC1_DATA5	0x1d0
			MX8MM_IOMUXC_SD1_DATA6_USDHC1_DATA6	0x1d0
			MX8MM_IOMUXC_SD1_DATA7_USDHC1_DATA7	0x1d0
		>;
	};

	pinctrl_usdhc1_100mhz: usdhc1grp100mhz {
		fsl,pins = <
			MX8MM_IOMUXC_SD1_CLK_USDHC1_CLK		0x194
			MX8MM_IOMUXC_SD1_CMD_USDHC1_CMD		0x1d4
			MX8MM_IOMUXC_SD1_DATA0_USDHC1_DATA0	0x1d4
			MX8MM_IOMUXC_SD1_DATA1_USDHC1_DATA1	0x1d4
			MX8MM_IOMUXC_SD1_DATA2_USDHC1_DATA2	0x1d4
			MX8MM_IOMUXC_SD1_DATA3_USDHC1_DATA3	0x1d4
			MX8MM_IOMUXC_SD1_DATA4_USDHC1_DATA4	0x1d4
			MX8MM_IOMUXC_SD1_DATA5_USDHC1_DATA5	0x1d4
			MX8MM_IOMUXC_SD1_DATA6_USDHC1_DATA6	0x1d4
			MX8MM_IOMUXC_SD1_DATA7_USDHC1_DATA7	0x1d4
		>;
	};

	pinctrl_usdhc1_200mhz: usdhc1grp200mhz {
		fsl,pins = <
			MX8MM_IOMUXC_SD1_CLK_USDHC1_CLK		0x196
			MX8MM_IOMUXC_SD1_CMD_USDHC1_CMD		0x1d6
			MX8MM_IOMUXC_SD1_DATA0_USDHC1_DATA0	0x1d6
			MX8MM_IOMUXC_SD1_DATA1_USDHC1_DATA1	0x1d6
			MX8MM_IOMUXC_SD1_DATA2_USDHC1_DATA2	0x1d6
			MX8MM_IOMUXC_SD1_DATA3_USDHC1_DATA3	0x1d6
			MX8MM_IOMUXC_SD1_DATA4_USDHC1_DATA4	0x1d6
			MX8MM_IOMUXC_SD1_DATA5_USDHC1_DATA5	0x1d6
			MX8MM_IOMUXC_SD1_DATA6_USDHC1_DATA6	0x1d6
			MX8MM_IOMUXC_SD1_DATA7_USDHC1_DATA7	0x1d6
		>;
	};

	pinctrl_usdhc2_gpio: usdhc2grpgpiogrp {
		fsl,pins = <
			MX8MM_IOMUXC_SD2_CD_B_GPIO2_IO12	0x1c4
		>;
	};

	pinctrl_usdhc2: usdhc2grp {
		fsl,pins = <
			MX8MM_IOMUXC_SD2_CLK_USDHC2_CLK		0x190
			MX8MM_IOMUXC_SD2_CMD_USDHC2_CMD		0x1d0
			MX8MM_IOMUXC_SD2_DATA0_USDHC2_DATA0	0x1d0
			MX8MM_IOMUXC_SD2_DATA1_USDHC2_DATA1	0x1d0
			MX8MM_IOMUXC_SD2_DATA2_USDHC2_DATA2	0x1d0
			MX8MM_IOMUXC_SD2_DATA3_USDHC2_DATA3	0x1d0
		>;
	};

	pinctrl_usdhc2_100mhz: usdhc2-100mhzgrp {
		fsl,pins = <
			MX8MM_IOMUXC_SD2_CLK_USDHC2_CLK		0x194
			MX8MM_IOMUXC_SD2_CMD_USDHC2_CMD		0x1d4
			MX8MM_IOMUXC_SD2_DATA0_USDHC2_DATA0	0x1d4
			MX8MM_IOMUXC_SD2_DATA1_USDHC2_DATA1	0x1d4
			MX8MM_IOMUXC_SD2_DATA2_USDHC2_DATA2	0x1d4
			MX8MM_IOMUXC_SD2_DATA3_USDHC2_DATA3	0x1d4
		>;
	};

	pinctrl_usdhc2_200mhz: usdhc2-200mhzgrp {
		fsl,pins = <
			MX8MM_IOMUXC_SD2_CLK_USDHC2_CLK		0x196
			MX8MM_IOMUXC_SD2_CMD_USDHC2_CMD		0x1d6
			MX8MM_IOMUXC_SD2_DATA0_USDHC2_DATA0	0x1d6
			MX8MM_IOMUXC_SD2_DATA1_USDHC2_DATA1	0x1d6
			MX8MM_IOMUXC_SD2_DATA2_USDHC2_DATA2	0x1d6
			MX8MM_IOMUXC_SD2_DATA3_USDHC2_DATA3	0x1d6
		>;
	};

	pinctrl_usdhc3: usdhc3grp {
		fsl,pins = <
			MX8MM_IOMUXC_NAND_WE_B_USDHC3_CLK               0x190
			MX8MM_IOMUXC_NAND_WP_B_USDHC3_CMD               0x1d0
			MX8MM_IOMUXC_NAND_DATA04_USDHC3_DATA0           0x1d0
			MX8MM_IOMUXC_NAND_DATA05_USDHC3_DATA1           0x1d0
			MX8MM_IOMUXC_NAND_DATA06_USDHC3_DATA2           0x1d0
			MX8MM_IOMUXC_NAND_DATA07_USDHC3_DATA3           0x1d0
			/* Bluetooth slow clock */
			MX8MM_IOMUXC_GPIO1_IO00_ANAMIX_REF_CLK_32K      0x03
		>;
	};

	pinctrl_usdhc3_100mhz: usdhc3grp100mhz {
		fsl,pins = <
			MX8MM_IOMUXC_NAND_WE_B_USDHC3_CLK               0x194
			MX8MM_IOMUXC_NAND_WP_B_USDHC3_CMD               0x1d4
			MX8MM_IOMUXC_NAND_DATA04_USDHC3_DATA0           0x1d4
			MX8MM_IOMUXC_NAND_DATA05_USDHC3_DATA1           0x1d4
			MX8MM_IOMUXC_NAND_DATA06_USDHC3_DATA2           0x1d4
			MX8MM_IOMUXC_NAND_DATA07_USDHC3_DATA3           0x1d4
		>;
	};

	pinctrl_usdhc3_200mhz: usdhc3grp200mhz {
		fsl,pins = <
			MX8MM_IOMUXC_NAND_WE_B_USDHC3_CLK               0x196
			MX8MM_IOMUXC_NAND_WP_B_USDHC3_CMD               0x1d6
			MX8MM_IOMUXC_NAND_DATA04_USDHC3_DATA0           0x1d6
			MX8MM_IOMUXC_NAND_DATA05_USDHC3_DATA1           0x1d6
			MX8MM_IOMUXC_NAND_DATA06_USDHC3_DATA2           0x1d6
			MX8MM_IOMUXC_NAND_DATA07_USDHC3_DATA3           0x1d6
		>;
	};

	pinctrl_usdhc3_gpio: usdhc1gpiogrp {
		fsl,pins = <
			MX8MM_IOMUXC_SAI2_RXFS_GPIO4_IO21		0x16  /* WIFI_RESET */
		>;
	};

	pinctrl_wdog: wdoggrp {
		fsl,pins = <
			MX8MM_IOMUXC_GPIO1_IO02_WDOG1_WDOG_B		0x166
		>;
	};

	pinctrl_wlan: wlangrp {
		fsl,pins = <
			MX8MM_IOMUXC_SAI2_TXFS_GPIO4_IO24		0x159	/* WL_IRQ */
		>;
	};
};
